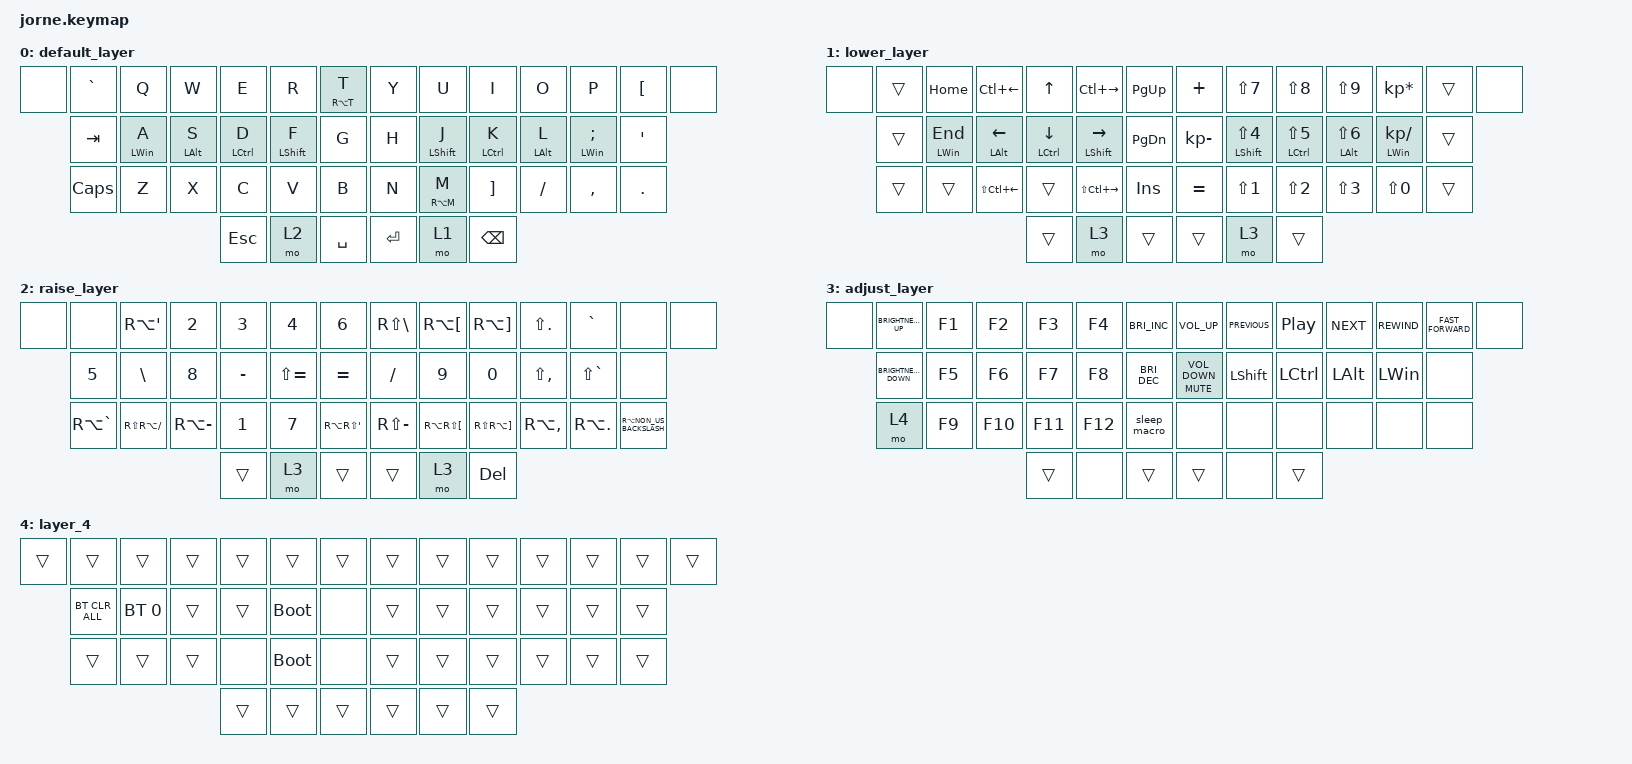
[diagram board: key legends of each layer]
/*
 * Copyright (c) 2020 The ZMK Contributors
 *
 * SPDX-License-Identifier: MIT
 */

#include <behaviors.dtsi>
#include <dt-bindings/zmk/bt.h>
#include <dt-bindings/zmk/keys.h>

#define DEF 0
#define LWR 1
#define RSE 2
#define ADJ 3

/ {
    behaviors {
        ht: ht {
            compatible = "zmk,behavior-hold-tap";
            label = "HT";
            bindings = <&kp>, <&kp>;

            #binding-cells = <2>;
            tapping-term-ms = <300>;
            quick-tap-ms = <300>;
            require-prior-idle-ms = <100>;
            flavor = "tap-preferred";
        };
    };

    macros {
        sleep_macro: sleep_macro {
            compatible = "zmk,behavior-macro";
            #binding-cells = <0>;
            bindings = <&kp LG(D) &kp LA(F4) &kp UP_ARROW &kp ENTER>;
            label = "SLEEP_MACRO";
            wait-ms = <300>;
        };

        BRIGHTNESS_DOWN: BRIGHTNESS_DOWN {
            compatible = "zmk,behavior-macro";
            #binding-cells = <0>;
            bindings = <&kp C_BRIGHTNESS_DEC &kp C_BRIGHTNESS_DEC &kp C_BRIGHTNESS_DEC &kp C_BRIGHTNESS_DEC &kp C_BRIGHTNESS_DEC &kp C_BRIGHTNESS_DEC &kp C_BRIGHTNESS_DEC &kp C_BRIGHTNESS_DEC &kp C_BRIGHTNESS_DEC &kp C_BRIGHTNESS_DEC>;
            label = "BRIGHTNESS_DOWN";
            wait-ms = <1>;
        };

        BRIGHTNESS_UP: BRIGHTNESS_UP {
            compatible = "zmk,behavior-macro";
            #binding-cells = <0>;
            bindings = <&kp C_BRIGHTNESS_INC &kp C_BRIGHTNESS_INC &kp C_BRIGHTNESS_INC &kp C_BRIGHTNESS_INC &kp C_BRIGHTNESS_INC &kp C_BRIGHTNESS_INC &kp C_BRIGHTNESS_INC &kp C_BRIGHTNESS_INC &kp C_BRIGHTNESS_INC &kp C_BRIGHTNESS_INC>;
            label = "BRIGHTNESS_UP";
            wait-ms = <1>;
        };
    };

    keymap {
        compatible = "zmk,keymap";

        default_layer {
            // -----------------------------------------------------------------------------------------
            // |  GUI |   ~  |  Q  |  W  |  E  |  R  |  T  |   |  Y  |  U   |  I  |  O  |  P  |  [   | GUI/] |
            //        | CTRL |  A  |  S  |  D  |  F  |  G  |   |  H  |  J   |  K  |  L  |  ;  |CTRL/'|
            //        | LALT |  Z  |  X  |  C  |  V  |  B  |   |  N  |  M   |  ,  |  .  |  /  | RALT |
            //                           | RSE | SPC | LWR |   | LWR | BSPC | RSE |

            bindings = <
&none  &kp GRAVE     &kp Q           &kp W           &kp E        &kp R             &ht RA(T) T    &kp Y      &kp U             &kp I              &kp O           &kp P                   &kp LBKT    &none
       &kp TAB       &ht LEFT_WIN A  &ht LEFT_ALT S  &ht LCTRL D  &ht LEFT_SHIFT F  &kp G          &kp H      &ht LEFT_SHIFT J  &ht LCTRL K        &ht LEFT_ALT L  &ht LEFT_WIN SEMICOLON  &kp SQT
       &kp CAPSLOCK  &kp Z           &kp X           &kp C        &kp V             &kp B          &kp N      &ht RA(M) M       &kp RIGHT_BRACKET  &kp SLASH       &kp COMMA               &kp PERIOD
                                                     &kp ESCAPE   &mo 2             &kp SPACE      &kp ENTER  &mo 1             &kp BACKSPACE
            >;
        };

        lower_layer {
            // -----------------------------------------------------------------------------------------
            // |     |  _  |  F1 |  F2 |  F3 |  F4 |  F5 |   |  F6 |  F7 |  F8 |  F9 | F10 | F11 | F12 |
            //       |  +  |  !  |  @  |  #  |  $  |  %  |   |  ^  |  &  |  *  |  (  |  )  |  -  |
            //       |  =  |  1  |  2  |  3  |  4  |  5  |   |  6  |  7  |  8  |  9  |  0  |     |
            //                    | GUI |     | SPC |   | ENT |     | ALT |

            bindings = <
&none  &trans  &kp HOME          &kp LC(LEFT)       &kp UP_ARROW    &kp LC(RIGHT)         &kp PAGE_UP      &kp PLUS      &kp LS(N7)                   &kp LS(NUMBER_8)  &kp LS(N9)                 &kp KP_MULTIPLY         &trans  &none
       &trans  &ht LEFT_WIN END  &ht LEFT_ALT LEFT  &ht LCTRL DOWN  &ht LEFT_SHIFT RIGHT  &kp PAGE_DOWN    &kp KP_MINUS  &ht LEFT_SHIFT LS(NUMBER_4)  &ht LCTRL LS(N5)  &ht LEFT_ALT LS(NUMBER_6)  &ht LEFT_WIN KP_DIVIDE  &trans
       &trans  &trans            &kp LS(LC(LEFT))   &trans          &kp LS(LC(RIGHT))     &kp INSERT       &kp EQUAL     &kp LS(NUMBER_1)             &kp LS(NUMBER_2)  &kp LS(NUMBER_3)           &kp LS(N0)              &trans
                                                    &trans          &mo 3                 &trans           &trans        &mo 3                        &trans
            >;
        };

        raise_layer {
            // -----------------------------------------------------------------------------------------
            // |     | NMLK |  /  |  7  |  8  |  9  |  -  |   | VOLU| HOME| PRSC| PGUP| SCLK| CLCK|     |
            //       | CTRL |  *  |  4  |  5  |  6  |  +  |   | MUT | LEFT|  UP | RGHT| INS | APP |
            //       |      |  0  |  1  |  2  |  3  |  .  |   | VOLD| END | DOWN| PGDN| PAUS|     |
            //                          |     |     | ADJ |   | ADJ |     |     |

            bindings = <
&none  &none          &kp RA(SQT)        &kp NUMBER_2   &kp NUMBER_3  &kp NUMBER_4   &kp NUMBER_6       &kp RS(BACKSLASH)  &kp RA(LEFT_BRACKET)      &kp RA(RIGHT_BRACKET)      &kp LS(PERIOD)  &kp GRAVE       &none                     &none
       &kp N5         &kp BACKSLASH      &kp NUMBER_8   &kp MINUS     &kp LS(EQUAL)  &kp EQUAL          &kp SLASH          &kp NUMBER_9              &kp NUMBER_0               &kp LS(COMMA)   &kp LS(GRAVE)   &none
       &kp RA(GRAVE)  &kp RS(RA(SLASH))  &kp RA(MINUS)  &kp NUMBER_1  &kp NUMBER_7   &kp RA(RS(SQT))    &kp RS(MINUS)      &kp RA(RS(LEFT_BRACKET))  &kp RS(RA(RIGHT_BRACKET))  &kp RA(COMMA)   &kp RA(PERIOD)  &kp RA(NON_US_BACKSLASH)
                                                        &trans        &mo 3          &trans             &trans             &mo 3                     &kp DEL
            >;
        };

        adjust_layer {
            // -----------------------------------------------------------------------------------------
            // | RST | BLDR |     |     |     |     |     |   |     |     |     |     |     | BLDR | RST |
            //       | BTCLR| BT0 | BT1 | BT2 | BT3 | BT4 |   | BT4 | BT3 | BT2 | BT1 | BT0 | BTCLR|
            //       |      |     |     |     |     |     |   |     |     |     |     |     |      |
            //                          |     |     |     |   |     |     |     |

            bindings = <
&none  &BRIGHTNESS_UP    &kp F1  &kp F2   &kp F3   &kp F4   &kp C_BRIGHTNESS_INC    &kp C_VOLUME_UP           &kp C_PREVIOUS  &kp C_PLAY_PAUSE  &kp C_NEXT    &kp C_REWIND  &kp C_FAST_FORWARD  &none
       &BRIGHTNESS_DOWN  &kp F5  &kp F6   &kp F7   &kp F8   &kp C_BRIGHTNESS_DEC    &ht C_MUTE C_VOLUME_DOWN  &kp LEFT_SHIFT  &kp LCTRL         &kp LEFT_ALT  &kp LEFT_WIN  &none
       &mo 4             &kp F9  &kp F10  &kp F11  &kp F12  &sleep_macro            &none                     &none           &none             &none         &none         &none
                                          &trans   &none    &trans                  &trans                    &none           &trans
            >;
        };

        layer_4 {
            bindings = <
&trans  &trans          &trans        &trans  &trans  &trans       &trans    &trans  &trans  &trans  &trans  &trans  &trans  &trans
        &bt BT_CLR_ALL  &bt BT_SEL 0  &trans  &trans  &bootloader  &none     &trans  &trans  &trans  &trans  &trans  &trans
        &trans          &trans        &trans  &none   &bootloader  &none     &trans  &trans  &trans  &trans  &trans  &trans
                                              &trans  &trans       &trans    &trans  &trans  &trans
            >;
        };
    };
};
